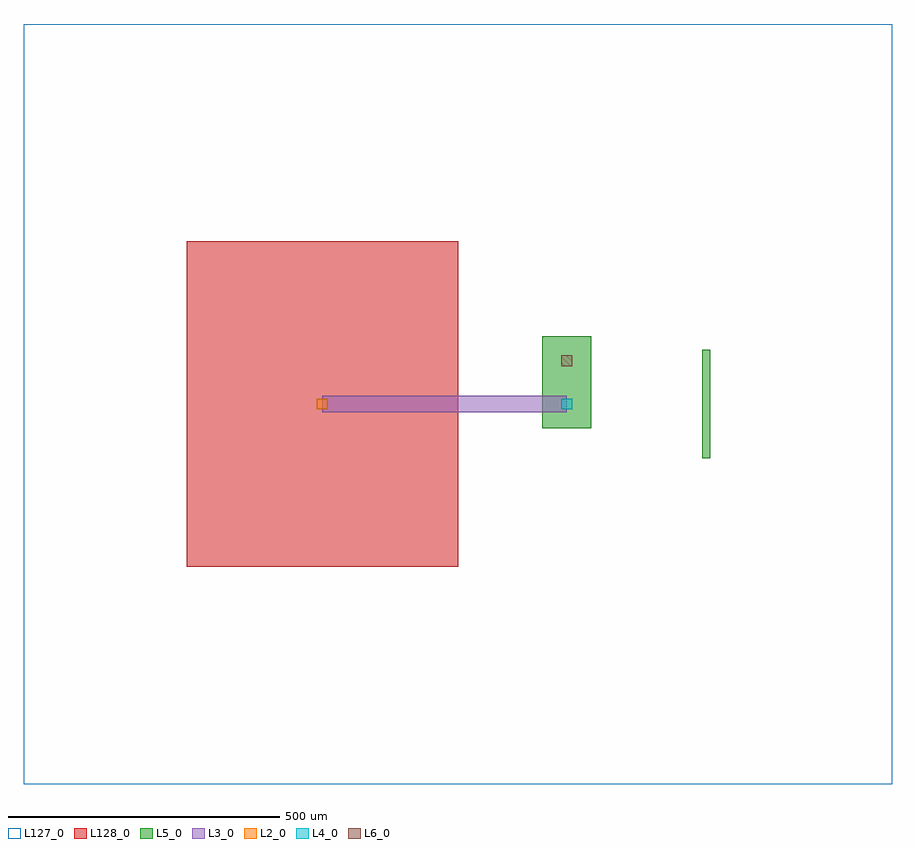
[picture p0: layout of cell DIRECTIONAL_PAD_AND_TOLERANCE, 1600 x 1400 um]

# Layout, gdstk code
import gdstk
lib = gdstk.Library(unit=1e-6, precision=1e-09)
def R(c, l, rs):  # rectangles x0, y0, x1, y1
    for r in rs: c.add(gdstk.rectangle(r[:2], r[2:], *l))
L2_0 = (2, 0)
L3_0 = (3, 0)
L4_0 = (4, 0)
L5_0 = (5, 0)
L6_0 = (6, 0)
L127_0 = (127, 0)
L128_0 = (128, 0)

directional_pad_and_tole = lib.new_cell('DIRECTIONAL_PAD_AND_TOLERANCE')
R(directional_pad_and_tole, L2_0, [(-460,-10,-440,10)])
R(directional_pad_and_tole, L4_0, [(-10,-10,10,10)])
R(directional_pad_and_tole, L5_0, [(250,-100,264.8,100), (-45,-45,45,125)])
R(directional_pad_and_tole, L6_0, [(-10,70,10,90)])
R(directional_pad_and_tole, L127_0, [(-1000,-700,600,700)])
R(directional_pad_and_tole, L128_0, [(-700,-300,-200,300)])
directional_pad_and_tole.add(gdstk.FlexPath([(-450,0),(0,0)], 30, ends="flush", simple_path=True, layer=3, datatype=0))  # L3_0

lib.write_gds('DIRECTIONAL_PAD_AND_TOLERANCE.gds')
